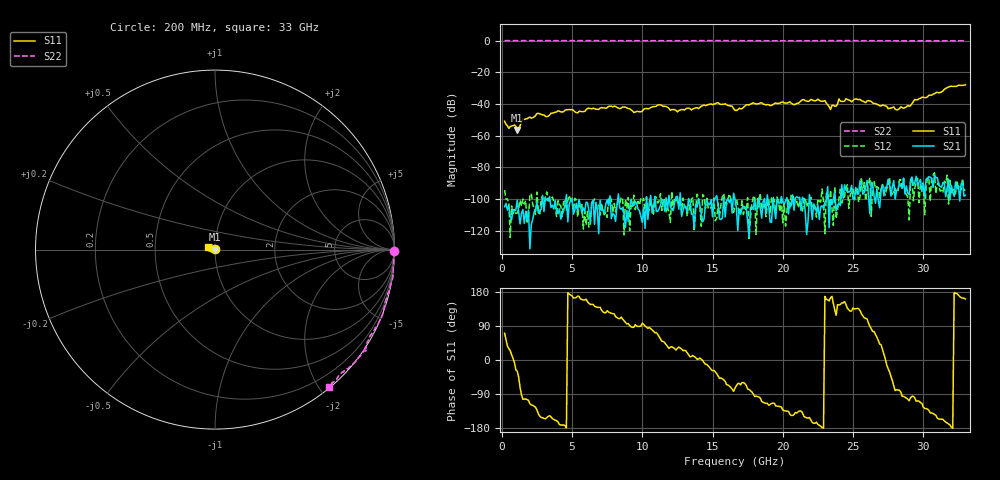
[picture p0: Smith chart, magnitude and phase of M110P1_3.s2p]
# GHZ S RI R 50
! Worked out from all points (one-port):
!   329 points, 200 MHz to 33 GHz, reference 50 ohm
!   lowest |S11| = -56.4 dB at 1.1 GHz (marker M1), VSWR 1.00, Z = 50.1 - j0.0752 ohm
!   |S11| at or under -10 dB: start of sweep to end of sweep
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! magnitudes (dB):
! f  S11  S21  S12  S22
! 200 MHz  -50.9  -105.0  -94.4  0.0
! 500 MHz  -55.4  -104.1  -103.0  0.0
! 1.1 GHz  -56.4  -100.9  -108.9  0.0
! 1.5 GHz  -49.7  -106.7  -100.1  0.0
! 2.5 GHz  -46.1  -102.1  -95.7  0.0
! 5.7 GHz  -44.9  -108.8  -103.6  0.0
! 7.7 GHz  -41.4  -98.1  -98.9  0.0
! 9.9 GHz  -45.0  -111.2  -99.9  0.0
! 11.2 GHz  -40.6  -106.3  -101.1  -0.1
! 12.5 GHz  -45.0  -98.3  -101.7  -0.1
! 15.4 GHz  -39.2  -104.6  -102.6  0.0
! 16.6 GHz  -44.1  -100.2  -104.9  0.0
! 17.9 GHz  -39.3  -106.6  -99.0  0.0
! 22.1 GHz  -37.6  -113.0  -105.8  -0.1
! 23 GHz  -37.9  -102.1  -122.1  0.0
! 23.4 GHz  -43.5  -100.3  -94.5  0.0
! 24 GHz  -36.8  -102.6  -99.9  0.0
! 24.5 GHz  -36.7  -94.5  -92.9  0.0
! 27.6 GHz  -42.8  -90.6  -86.5  0.0
! 28.6 GHz  -42.7  -86.9  -87.1  -0.1
! 29.4 GHz  -37.1  -89.6  -93.1  -0.1
! 33 GHz  -27.9  -97.7  -94.3  -0.1
